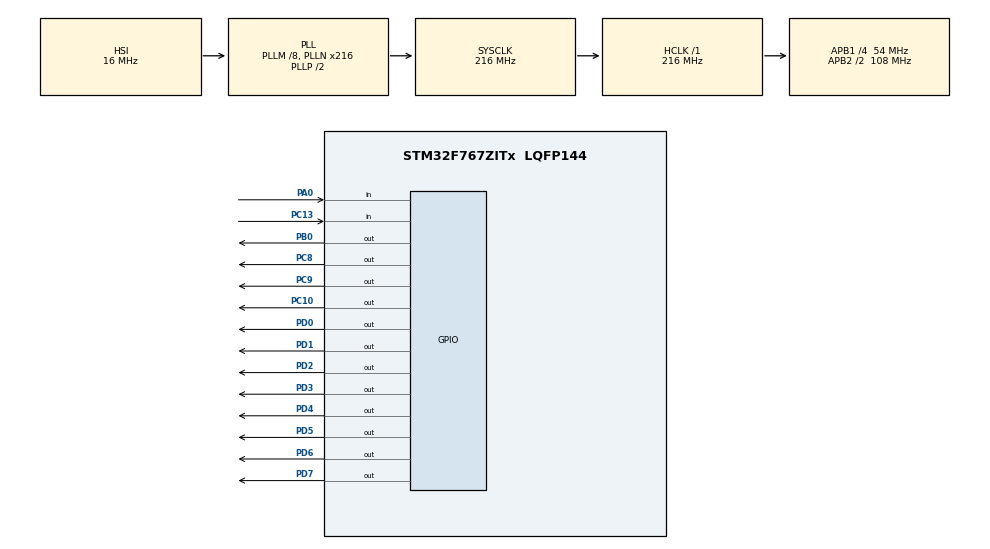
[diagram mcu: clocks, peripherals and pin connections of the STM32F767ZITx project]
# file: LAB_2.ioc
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CORTEX_M7.default_mode_Activation=1
Mcu.Family=STM32F7
Mcu.Name=STM32F767ZITx
Mcu.Package=LQFP144
NVIC.PriorityGroup=NVIC_PRIORITYGROUP_4
PA0/WKUP.Signal=GPIO_Input
PB0.Signal=GPIO_Output
PC10.Signal=GPIO_Output
PC13.Signal=GPIO_Input
PC8.Signal=GPIO_Output
PC9.Signal=GPIO_Output
PD0.Signal=GPIO_Output
PD1.Signal=GPIO_Output
PD2.Signal=GPIO_Output
PD3.Signal=GPIO_Output
PD4.Signal=GPIO_Output
PD5.Signal=GPIO_Output
PD6.Signal=GPIO_Output
PD7.Signal=GPIO_Output
ProjectManager.HeapSize=0x200
ProjectManager.StackSize=0x400
ProjectManager.TargetToolchain=STM32CubeIDE
RCC.AHBFreq_Value=216000000
RCC.APB1CLKDivider=RCC_HCLK_DIV4
RCC.APB1Freq_Value=54000000
RCC.APB1TimFreq_Value=108000000
RCC.APB2CLKDivider=RCC_HCLK_DIV2
RCC.APB2Freq_Value=108000000
RCC.APB2TimFreq_Value=216000000
RCC.CortexFreq_Value=216000000
RCC.HCLKFreq_Value=216000000
RCC.HSE_VALUE=25000000
RCC.HSI_VALUE=16000000
RCC.LSE_VALUE=32768
RCC.PLLM=8
RCC.PLLN=216
RCC.SYSCLKFreq_VALUE=216000000
RCC.SYSCLKSource=RCC_SYSCLKSOURCE_PLLCLK
RCC.USBFreq_Value=216000000
RCC.VCOOutputFreq_Value=432000000
board=custom

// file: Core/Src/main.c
/* USER CODE BEGIN Header */
/**
  ******************************************************************************
  * @file           : main.c
  * @brief          : Main program body
  ******************************************************************************
  * @attention
  *
  * Copyright (c) 2025 STMicroelectronics.
  * All rights reserved.
  *
  * This software is licensed under terms that can be found in the LICENSE file
  * in the root directory of this software component.
  * If no LICENSE file comes with this software, it is provided AS-IS.
  *
  ******************************************************************************
  */
/* USER CODE END Header */
#include "main.h"

/* USER CODE BEGIN PV */
uint8_t num = 0;
uint8_t led_auto = 0;
uint8_t pin[] = { GPIO_PIN_0, GPIO_PIN_1, GPIO_PIN_2, GPIO_PIN_3, GPIO_PIN_4,
		GPIO_PIN_5, GPIO_PIN_6, GPIO_PIN_7 };
/* USER CODE END PV */

void SystemClock_Config(void);
static void MPU_Config(void);
static void MX_GPIO_Init(void);

int main(void)
{

  /* MPU Configuration--------------------------------------------------------*/
  MPU_Config();

  /* MCU Configuration--------------------------------------------------------*/

  /* Reset of all peripherals, Initializes the Flash interface and the Systick. */
  HAL_Init();

  /* Configure the system clock */
  SystemClock_Config();

  /* Initialize all configured peripherals */
  MX_GPIO_Init();
  /* USER CODE BEGIN 2 */
//  uint8_t n;
  /* USER CODE END 2 */

  /* Infinite loop */
  while (1)
  {

    /* USER CODE BEGIN 3 */
//	if (HAL_GPIO_ReadPin(GPIOC, GPIO_PIN_13) == 1) {
//		HAL_GPIO_WritePin(GPIOB, GPIO_PIN_0, 1);
//
//		HAL_Delay(1000);
//
//		HAL_GPIO_WritePin(GPIOB, GPIO_PIN_0, 0);
//	}
//
//	if (HAL_GPIO_ReadPin(GPIOA, GPIO_PIN_0) == 0) {
//		HAL_GPIO_WritePin(GPIOC, GPIO_PIN_8, 1);
//
//		HAL_Delay(1000);
//
//		HAL_GPIO_WritePin(GPIOC, GPIO_PIN_8, 0);
//	}

//	if (HAL_GPIO_ReadPin(GPIOA, GPIO_PIN_0) == 0) {
//		HAL_GPIO_WritePin(GPIOD, GPIO_PIN_0|GPIO_PIN_1|GPIO_PIN_2, 1);
//
//		HAL_Delay(1000);
//
//		HAL_GPIO_WritePin(GPIOD, GPIO_PIN_0|GPIO_PIN_1|GPIO_PIN_2, 0);
//	}

	if (HAL_GPIO_ReadPin(GPIOC, GPIO_PIN_13) == 1) {
		num++;

		if (num>8)
			num = 1;

		HAL_Delay(300);
	}

	if (HAL_GPIO_ReadPin(GPIOA, GPIO_PIN_0) == 0) {
		if (num == 0)
			led_auto = 1;

		for(uint8_t i=0; i < 8; i++) {
			num--;

			if (num > 8 || num == 0)
				num = 8;

			for(uint8_t i=0; i < 8; i++) {
				HAL_GPIO_WritePin(GPIOD, pin[i], num==i+1);
			}

			HAL_Delay(300);

			if (led_auto == 1 && num == 1) {
				num = 0;
				led_auto = 0;
			}

		}
	}

	for(uint8_t i=0; i < 8; i++) {
		HAL_GPIO_WritePin(GPIOD, pin[i], num==i+1);
	}

//	for (n=0; n<=2; n++) {
//		GPIOC -> BSRR = 0x07000000;
//		HAL_Delay(500);
//
//		GPIOC -> BSRR = 0x00000400 >> n;
//		HAL_Delay(500);
//	}
  }
  /* USER CODE END 3 */
}

void SystemClock_Config(void)
{
  RCC_OscInitTypeDef RCC_OscInitStruct = {0};
  RCC_ClkInitTypeDef RCC_ClkInitStruct = {0};

  /** Configure the main internal regulator output voltage
  */
  __HAL_RCC_PWR_CLK_ENABLE();
  __HAL_PWR_VOLTAGESCALING_CONFIG(PWR_REGULATOR_VOLTAGE_SCALE1);

  /** Initializes the RCC Oscillators according to the specified parameters
  * in the RCC_OscInitTypeDef structure.
  */
  RCC_OscInitStruct.OscillatorType = RCC_OSCILLATORTYPE_HSI;
  RCC_OscInitStruct.HSIState = RCC_HSI_ON;
  RCC_OscInitStruct.HSICalibrationValue = RCC_HSICALIBRATION_DEFAULT;
  RCC_OscInitStruct.PLL.PLLState = RCC_PLL_ON;
  RCC_OscInitStruct.PLL.PLLSource = RCC_PLLSOURCE_HSI;
  RCC_OscInitStruct.PLL.PLLM = 8;
  RCC_OscInitStruct.PLL.PLLN = 216;
  RCC_OscInitStruct.PLL.PLLP = RCC_PLLP_DIV2;
  RCC_OscInitStruct.PLL.PLLQ = 2;
  RCC_OscInitStruct.PLL.PLLR = 2;
  if (HAL_RCC_OscConfig(&RCC_OscInitStruct) != HAL_OK)
  {
    Error_Handler();
  }

  /** Activate the Over-Drive mode
  */
  if (HAL_PWREx_EnableOverDrive() != HAL_OK)
  {
    Error_Handler();
  }

  /** Initializes the CPU, AHB and APB buses clocks
  */
  RCC_ClkInitStruct.ClockType = RCC_CLOCKTYPE_HCLK|RCC_CLOCKTYPE_SYSCLK
                              |RCC_CLOCKTYPE_PCLK1|RCC_CLOCKTYPE_PCLK2;
  RCC_ClkInitStruct.SYSCLKSource = RCC_SYSCLKSOURCE_PLLCLK;
  RCC_ClkInitStruct.AHBCLKDivider = RCC_SYSCLK_DIV1;
  RCC_ClkInitStruct.APB1CLKDivider = RCC_HCLK_DIV4;
  RCC_ClkInitStruct.APB2CLKDivider = RCC_HCLK_DIV2;

  if (HAL_RCC_ClockConfig(&RCC_ClkInitStruct, FLASH_LATENCY_7) != HAL_OK)
  {
    Error_Handler();
  }
}

static void MX_GPIO_Init(void)
{
  GPIO_InitTypeDef GPIO_InitStruct = {0};

  /* GPIO Ports Clock Enable */
  __HAL_RCC_GPIOC_CLK_ENABLE();
  __HAL_RCC_GPIOA_CLK_ENABLE();
  __HAL_RCC_GPIOB_CLK_ENABLE();
  __HAL_RCC_GPIOD_CLK_ENABLE();

  /*Configure GPIO pin Output Level */
  HAL_GPIO_WritePin(GPIOB, GPIO_PIN_0, GPIO_PIN_RESET);

  /*Configure GPIO pin Output Level */
  HAL_GPIO_WritePin(GPIOC, GPIO_PIN_8|GPIO_PIN_9|GPIO_PIN_10, GPIO_PIN_RESET);

  /*Configure GPIO pin Output Level */
  HAL_GPIO_WritePin(GPIOD, GPIO_PIN_0|GPIO_PIN_1|GPIO_PIN_2|GPIO_PIN_3
                          |GPIO_PIN_4|GPIO_PIN_5|GPIO_PIN_6|GPIO_PIN_7, GPIO_PIN_RESET);

  /*Configure GPIO pin : PC13 */
  GPIO_InitStruct.Pin = GPIO_PIN_13;
  GPIO_InitStruct.Mode = GPIO_MODE_INPUT;
  GPIO_InitStruct.Pull = GPIO_NOPULL;
  HAL_GPIO_Init(GPIOC, &GPIO_InitStruct);

  /*Configure GPIO pin : PA0 */
  GPIO_InitStruct.Pin = GPIO_PIN_0;
  GPIO_InitStruct.Mode = GPIO_MODE_INPUT;
  GPIO_InitStruct.Pull = GPIO_NOPULL;
  HAL_GPIO_Init(GPIOA, &GPIO_InitStruct);

  /*Configure GPIO pin : PB0 */
  GPIO_InitStruct.Pin = GPIO_PIN_0;
  GPIO_InitStruct.Mode = GPIO_MODE_OUTPUT_PP;
  GPIO_InitStruct.Pull = GPIO_NOPULL;
  GPIO_InitStruct.Speed = GPIO_SPEED_FREQ_LOW;
  HAL_GPIO_Init(GPIOB, &GPIO_InitStruct);

  /*Configure GPIO pins : PC8 PC9 PC10 */
  GPIO_InitStruct.Pin = GPIO_PIN_8|GPIO_PIN_9|GPIO_PIN_10;
  GPIO_InitStruct.Mode = GPIO_MODE_OUTPUT_PP;
  GPIO_InitStruct.Pull = GPIO_NOPULL;
  GPIO_InitStruct.Speed = GPIO_SPEED_FREQ_LOW;
  HAL_GPIO_Init(GPIOC, &GPIO_InitStruct);

  /*Configure GPIO pins : PD0 PD1 PD2 PD3
                           PD4 PD5 PD6 PD7 */
  GPIO_InitStruct.Pin = GPIO_PIN_0|GPIO_PIN_1|GPIO_PIN_2|GPIO_PIN_3
                          |GPIO_PIN_4|GPIO_PIN_5|GPIO_PIN_6|GPIO_PIN_7;
  GPIO_InitStruct.Mode = GPIO_MODE_OUTPUT_PP;
  GPIO_InitStruct.Pull = GPIO_NOPULL;
  GPIO_InitStruct.Speed = GPIO_SPEED_FREQ_LOW;
  HAL_GPIO_Init(GPIOD, &GPIO_InitStruct);

}

 /* MPU Configuration */

void MPU_Config(void)
{
  MPU_Region_InitTypeDef MPU_InitStruct = {0};

  /* Disables the MPU */
  HAL_MPU_Disable();

  /** Initializes and configures the Region and the memory to be protected
  */
  MPU_InitStruct.Enable = MPU_REGION_ENABLE;
  MPU_InitStruct.Number = MPU_REGION_NUMBER0;
  MPU_InitStruct.BaseAddress = 0x0;
  MPU_InitStruct.Size = MPU_REGION_SIZE_4GB;
  MPU_InitStruct.SubRegionDisable = 0x87;
  MPU_InitStruct.TypeExtField = MPU_TEX_LEVEL0;
  MPU_InitStruct.AccessPermission = MPU_REGION_NO_ACCESS;
  MPU_InitStruct.DisableExec = MPU_INSTRUCTION_ACCESS_DISABLE;
  MPU_InitStruct.IsShareable = MPU_ACCESS_SHAREABLE;
  MPU_InitStruct.IsCacheable = MPU_ACCESS_NOT_CACHEABLE;
  MPU_InitStruct.IsBufferable = MPU_ACCESS_NOT_BUFFERABLE;

  HAL_MPU_ConfigRegion(&MPU_InitStruct);
  /* Enables the MPU */
  HAL_MPU_Enable(MPU_PRIVILEGED_DEFAULT);

}

void Error_Handler(void)
{
  __disable_irq();
  while (1)
  {
  }
}
